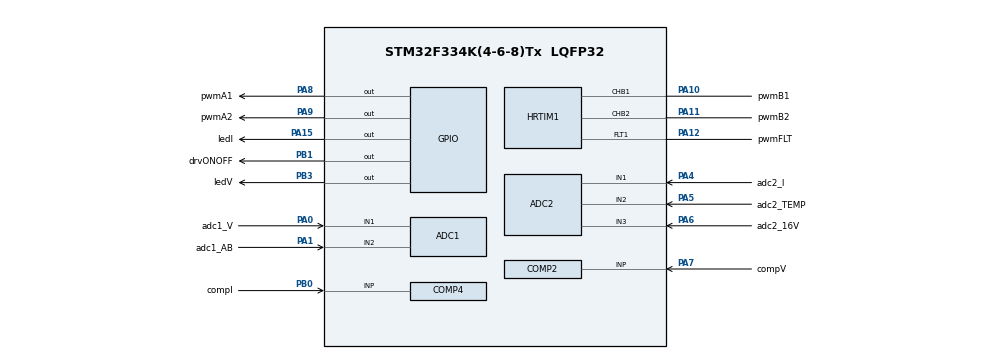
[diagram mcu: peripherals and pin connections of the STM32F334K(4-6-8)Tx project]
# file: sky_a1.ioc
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ADC1.EOCSelection=ADC_EOC_SEQ_CONV
ADC1.EnableRegularConversion=DISABLE
ADC1.ExternalTrigInjecConv=ADC_EXTERNALTRIGINJECCONV_HRTIM_TRG2
ADC1.InjNumberOfConversion=1
ADC1.InjectedChannel-1\#ChannelInjectedConversion=ADC_CHANNEL_1
ADC1.InjectedOffset-1\#ChannelInjectedConversion=0
ADC1.InjectedOffsetNumber-1\#ChannelInjectedConversion=ADC_OFFSET_NONE
ADC1.InjectedRank-1\#ChannelInjectedConversion=1
ADC1.InjectedSamplingTime-1\#ChannelInjectedConversion=ADC_SAMPLETIME_4CYCLES_5
ADC1.InjectedSamplingTimeOPAMP-1\#ChannelInjectedConversion=ADC_SAMPLETIME_61CYCLES_5
ADC1.SubFamily=STM32F334x8
ADC1.master=1
ADC2.EOCSelection=ADC_EOC_SEQ_CONV
ADC2.EnableRegularConversion=DISABLE
ADC2.ExternalTrigInjecConv=ADC_EXTERNALTRIGINJECCONV_HRTIM_TRG2
ADC2.InjNumberOfConversion=1
ADC2.InjectedChannel-1\#ChannelInjectedConversion=ADC_CHANNEL_1
ADC2.InjectedOffset-1\#ChannelInjectedConversion=0
ADC2.InjectedOffsetNumber-1\#ChannelInjectedConversion=ADC_OFFSET_NONE
ADC2.InjectedRank-1\#ChannelInjectedConversion=1
ADC2.InjectedSamplingTime-1\#ChannelInjectedConversion=ADC_SAMPLETIME_4CYCLES_5
ADC2.InjectedSamplingTimeOPAMP-1\#ChannelInjectedConversion=ADC_SAMPLETIME_61CYCLES_5
ADC2.SubFamily=STM32F334x8
COMP2.InvertingInput=COMP_INVERTINGINPUT_DAC1_CH2
COMP2.TriggerMode=COMP_TRIGGERMODE_NONE
COMP4.InvertingInput=COMP_INVERTINGINPUT_DAC2_CH1
COMP4.TriggerMode=COMP_TRIGGERMODE_NONE
HRTIM1.ADCTrigger2_Source1=HRTIM_ADCTRIGGEREVENT24_TIMERC_RESET
HRTIM1.ADCTrigger2_Source2=HRTIM_ADCTRIGGEREVENT24_TIMERC_CMP2
HRTIM1.ADCTrigger2_Source3=HRTIM_ADCTRIGGEREVENT24_TIMERC_CMP3
HRTIM1.ADCTrigger2_Source4=HRTIM_ADCTRIGGEREVENT24_MASTER_CMP3
HRTIM1.ADCTrigger2_Source5=HRTIM_ADCTRIGGEREVENT24_MASTER_CMP4
HRTIM1.ADCTrigger2_Source6=HRTIM_ADCTRIGGEREVENT24_NONE
HRTIM1.ADCTrigger2_Source7=HRTIM_ADCTRIGGEREVENT24_NONE
HRTIM1.ADCTrigger2_Source8=HRTIM_ADCTRIGGEREVENT24_NONE
HRTIM1.ADCTrigger_Id1=__NULL
HRTIM1.ADCTrigger_Id2=HRTIM_ADCTRIGGER_2
HRTIM1.CaptureUnit1-Output_TB1TB2=HRTIM_CAPTUREUNIT_1
HRTIM1.CaptureUnit2-Output_TB1TB2=HRTIM_CAPTUREUNIT_2
HRTIM1.CompareUnit1-MasterTimer=HRTIM_COMPAREUNIT_1
HRTIM1.CompareUnit1-No_output_TC=__NULL
HRTIM1.CompareUnit1-Output_TB1TB2=HRTIM_COMPAREUNIT_1
HRTIM1.CompareUnit2-MasterTimer=HRTIM_COMPAREUNIT_2
HRTIM1.CompareUnit2-No_output_TC=HRTIM_COMPAREUNIT_2
HRTIM1.CompareUnit2-Output_TB1TB2=HRTIM_COMPAREUNIT_2
HRTIM1.CompareUnit3-MasterTimer=HRTIM_COMPAREUNIT_3
HRTIM1.CompareUnit3-No_output_TC=HRTIM_COMPAREUNIT_3
HRTIM1.CompareUnit3-Output_TB1TB2=HRTIM_COMPAREUNIT_3
HRTIM1.CompareUnit4-MasterTimer=HRTIM_COMPAREUNIT_4
HRTIM1.CompareUnit4-No_output_TC=__NULL
HRTIM1.CompareUnit4-Output_TB1TB2=HRTIM_COMPAREUNIT_4
HRTIM1.CompareValue1-MasterTimer=5800
HRTIM1.CompareValue1-Output_TB1TB2=4600
HRTIM1.CompareValue2-MasterTimer=30800
HRTIM1.CompareValue2-No_output_TC=3000
HRTIM1.CompareValue2-Output_TB1TB2=25000
HRTIM1.CompareValue3-MasterTimer=14800
HRTIM1.CompareValue3-No_output_TC=6000
HRTIM1.CompareValue3-Output_TB1TB2=29600
HRTIM1.CompareValue4-MasterTimer=17800
HRTIM1.CompareValue4-No_output_TC=9000
HRTIM1.CompareValue4-Output_TB1TB2=50000
HRTIM1.Event_EEV1=HRTIM_EVENT_1
HRTIM1.Event_EEV2=HRTIM_EVENT_2
HRTIM1.FastMode_EEV1=HRTIM_EVENTFASTMODE_ENABLE
HRTIM1.FastMode_EEV2=HRTIM_EVENTFASTMODE_ENABLE
HRTIM1.FaultLevel1-Output_TB1TB2=HRTIM_OUTPUTFAULTLEVEL_INACTIVE
HRTIM1.FaultLevel2-Output_TB1TB2=HRTIM_OUTPUTFAULTLEVEL_INACTIVE
HRTIM1.Filter_FaultLine1=HRTIM_FAULTFILTER_15
HRTIM1.HRTIMInterruptResquests1=HRTIM_IT_FLT1
HRTIM1.HRTIMInterruptResquests2=HRTIM_IT_SYSFLT
HRTIM1.InterruptRequests1-Output_TB1TB2=HRTIM_TIM_IT_CPT1
HRTIM1.InterruptRequests1_Master=HRTIM_MASTER_IT_MREP
HRTIM1.InterruptRequests2-Output_TB1TB2=HRTIM_TIM_IT_CPT2
HRTIM1.ModeTimeBase-No_output_TC=HRTIM_MODE_SINGLESHOT_RETRIGGERABLE
HRTIM1.ModeTimeBase-Output_TB1TB2=HRTIM_MODE_SINGLESHOT_RETRIGGERABLE
HRTIM1.NumberADCTriggerSource2=5
HRTIM1.NumberInterruptRequests-Output_TB1TB2=2
HRTIM1.NumberInterruptRequests_Master-MasterTimer=1
HRTIM1.NumberResetSource1-Output_TB1TB2=8
HRTIM1.NumberResetSource2_TB=8
HRTIM1.NumberResetTrigger-No_output_TC=2
HRTIM1.NumberResetTrigger-Output_TB1TB2=1
HRTIM1.NumberSetSource1-Output_TB1TB2=1
HRTIM1.NumberSetSource2_TB=1
HRTIM1.NumberTriggerSource_Captureconfig1-Output_TB1TB2=1
HRTIM1.NumberTriggerSource_Captureconfig2-Output_TB1TB2=1
HRTIM1.NumberUpdateTrigger-No_output_TC=1
HRTIM1.NumberUpdateTrigger-Output_TB1TB2=1
HRTIM1.ORingUpdateSource_ADCTrigger2=HRTIM_ADCTRIGGERUPDATE_TIMER_C
HRTIM1.Periode_MASTER=50000
HRTIM1.Periode_TB=50000
HRTIM1.Periode_TC=19200
HRTIM1.PreloadEnable-MasterTimer=HRTIM_PRELOAD_ENABLED
HRTIM1.PreloadEnable-No_output_TC=HRTIM_PRELOAD_ENABLED
HRTIM1.PreloadEnable-Output_TB1TB2=HRTIM_PRELOAD_ENABLED
HRTIM1.PrescalerRatio_MASTER=HRTIM_PRESCALERRATIO_MUL16
HRTIM1.PrescalerRatio_TB=HRTIM_PRESCALERRATIO_MUL16
HRTIM1.PrescalerRatio_TC=HRTIM_PRESCALERRATIO_MUL16
HRTIM1.RepetitionUpdate-MasterTimer=HRTIM_UPDATEONREPETITION_ENABLED
HRTIM1.RepetitionUpdate-No_output_TC=HRTIM_UPDATEONREPETITION_ENABLED
HRTIM1.RepetitionUpdate-Output_TB1TB2=HRTIM_UPDATEONREPETITION_ENABLED
HRTIM1.ResetOutput1_Source1-Output_TB1TB2=HRTIM_OUTPUTRESET_EEV_1
HRTIM1.ResetOutput1_Source2-Output_TB1TB2=HRTIM_OUTPUTRESET_EEV_2
HRTIM1.ResetOutput1_Source3-Output_TB1TB2=HRTIM_OUTPUTRESET_TIMCMP2
HRTIM1.ResetOutput1_Source4-Output_TB1TB2=HRTIM_OUTPUTRESET_TIMCMP3
HRTIM1.ResetOutput1_Source5-Output_TB1TB2=HRTIM_OUTPUTRESET_TIMCMP4
HRTIM1.ResetOutput1_Source6-Output_TB1TB2=HRTIM_OUTPUTRESET_MASTERPER
HRTIM1.ResetOutput1_Source7-Output_TB1TB2=HRTIM_OUTPUTRESET_UPDATE
HRTIM1.ResetOutput1_Source8-Output_TB1TB2=HRTIM_OUTPUTRESET_TIMPER
HRTIM1.ResetOutput2_Source1-Output_TB1TB2=HRTIM_OUTPUTRESET_EEV_1
HRTIM1.ResetOutput2_Source2-Output_TB1TB2=HRTIM_OUTPUTRESET_EEV_2
HRTIM1.ResetOutput2_Source3-Output_TB1TB2=HRTIM_OUTPUTRESET_TIMCMP4
HRTIM1.ResetOutput2_Source4-Output_TB1TB2=HRTIM_OUTPUTRESET_TIMCMP1
HRTIM1.ResetOutput2_Source5-Output_TB1TB2=HRTIM_OUTPUTRESET_TIMCMP2
HRTIM1.ResetOutput2_Source6-Output_TB1TB2=HRTIM_OUTPUTRESET_MASTERPER
HRTIM1.ResetOutput2_Source7-Output_TB1TB2=HRTIM_OUTPUTRESET_UPDATE
HRTIM1.ResetOutput2_Source8-Output_TB1TB2=HRTIM_OUTPUTRESET_TIMPER
HRTIM1.ResetTrigger1-No_output_TC=HRTIM_TIMRESETTRIGGER_MASTER_CMP1
HRTIM1.ResetTrigger1-Output_TB1TB2=HRTIM_TIMRESETTRIGGER_MASTER_PER
HRTIM1.ResetTrigger2-No_output_TC=HRTIM_TIMRESETTRIGGER_MASTER_CMP2
HRTIM1.ResetUpdate-No_output_TC=HRTIM_TIMUPDATEONRESET_ENABLED
HRTIM1.ResetUpdate-Output_TB1TB2=HRTIM_TIMUPDATEONRESET_ENABLED
HRTIM1.SetOutput1_Source1-Output_TB1TB2=HRTIM_OUTPUTSET_TIMCMP1
HRTIM1.SetOutput2_Source1-Output_TB1TB2=HRTIM_OUTPUTSET_TIMCMP3
HRTIM1.TriggerCapture1_Source1-Output_TB1TB2=HRTIM_CAPTURETRIGGER_EEV_1
HRTIM1.TriggerCapture2_Source1-Output_TB1TB2=HRTIM_CAPTURETRIGGER_EEV_2
HRTIM1.UpdateTrigger1-No_output_TC=HRTIM_TIMUPDATETRIGGER_MASTER
HRTIM1.UpdateTrigger1-Output_TB1TB2=HRTIM_TIMUPDATETRIGGER_MASTER
IWDG.Prescaler=IWDG_PRESCALER_128
Mcu.Family=STM32F3
Mcu.Name=STM32F334K(4-6-8)Tx
Mcu.Package=LQFP32
NVIC.ADC1_2_IRQn=true\:0\:3\:false\:true\:true\:5\:true\:true
NVIC.HRTIM1_Master_IRQn=true\:0\:0\:false\:true\:true\:1\:true\:true
NVIC.HRTIM1_TIMB_IRQn=true\:0\:2\:false\:true\:true\:2\:true\:true
NVIC.PVD_IRQn=true\:2\:3\:true\:true\:true\:6\:true\:true
NVIC.PriorityGroup=NVIC_PRIORITYGROUP_2
PA0.GPIO_Label=adc1_V
PA0.Mode=IN1-Single-Ended
PA0.Signal=ADC1_IN1
PA1.GPIO_Label=adc1_AB
PA1.Mode=IN2-Single-Ended
PA1.Signal=ADC1_IN2
PA10.GPIO_Label=pwmB1
PA10.Mode=Output_TB1TB2
PA10.Signal=HRTIM1_CHB1
PA11.GPIO_Label=pwmB2
PA11.Mode=Output_TB1TB2
PA11.Signal=HRTIM1_CHB2
PA12.GPIO_Label=pwmFLT
PA12.GPIO_Speed=GPIO_SPEED_FREQ_HIGH
PA12.Mode=Fault_Enable1
PA12.Signal=HRTIM1_FLT1
PA13.GPIO_Label=sysDIO
PA13.Mode=Serial_Wire
PA13.Signal=SYS_JTMS-SWDIO
PA14.GPIO_Label=sysCLK
PA14.Mode=Serial_Wire
PA14.Signal=SYS_JTCK-SWCLK
PA15.GPIO_Label=ledI
PA15.GPIO_Speed=GPIO_SPEED_FREQ_HIGH
PA15.Signal=GPIO_Output
PA4.GPIO_Label=adc2_I
PA4.Mode=IN1-Single-Ended
PA4.Signal=ADC2_IN1
PA5.GPIO_Label=adc2_TEMP
PA5.Mode=IN2-Single-Ended
PA5.Signal=ADC2_IN2
PA6.GPIO_Label=adc2_16V
PA6.Mode=IN3-Single-Ended
PA6.Signal=ADC2_IN3
PA7.GPIO_Label=compV
PA7.Mode=INP
PA7.Signal=COMP2_INP
PA8.GPIO_Label=pwmA1
PA8.GPIO_Speed=GPIO_SPEED_FREQ_HIGH
PA8.Signal=GPIO_Output
PA9.GPIO_Label=pwmA2
PA9.GPIO_Speed=GPIO_SPEED_FREQ_HIGH
PA9.Signal=GPIO_Output
PB0.GPIO_Label=compI
PB0.Mode=INP
PB0.Signal=COMP4_INP
PB1.GPIO_Label=drvONOFF
PB1.GPIO_Speed=GPIO_SPEED_FREQ_HIGH
PB1.PinState=GPIO_PIN_SET
PB1.Signal=GPIO_Output
PB3.GPIO_Label=ledV
PB3.GPIO_Speed=GPIO_SPEED_FREQ_HIGH
PB3.Signal=GPIO_Output
PF0\ /\ OSC_IN.GPIO_Label=rccPF0
PF0\ /\ OSC_IN.Mode=HSE-External-Oscillator
PF0\ /\ OSC_IN.Signal=RCC_OSC_IN
PF1\ /\ OSC_OUT.GPIO_Label=rccPF1
PF1\ /\ OSC_OUT.Mode=HSE-External-Oscillator
PF1\ /\ OSC_OUT.Signal=RCC_OSC_OUT
ProjectManager.HeapSize=0x200
ProjectManager.StackSize=0x400
ProjectManager.TargetToolchain=STM32CubeIDE
RCC.AHBFreq_Value=72000000
RCC.APB1CLKDivider=RCC_HCLK_DIV2
RCC.APB1Freq_Value=36000000
RCC.APB1TimFreq_Value=72000000
RCC.APB2Freq_Value=72000000
RCC.APB2TimFreq_Value=72000000
RCC.CortexFreq_Value=72000000
RCC.HCLKFreq_Value=72000000
RCC.HRTIMSelection=RCC_HRTIM1CLK_PLLCLK
RCC.HSE_VALUE=12000000
RCC.HSI_VALUE=8000000
RCC.PLLMUL=RCC_PLL_MUL6
RCC.PLLSourceVirtual=RCC_PLLSOURCE_HSE
RCC.SYSCLKFreq_VALUE=72000000
RCC.SYSCLKSourceVirtual=RCC_SYSCLKSOURCE_PLLCLK
VP_COMP2_VS_DAC1OUT2.Mode=INM_DAC1OUT2
VP_COMP4_VS_DAC2OUT1.Mode=INM_DAC2OUT1
VP_DAC1_Switcher_Out2.Mode=Switch_Disable_OUT2
VP_DAC2_Switcher_Out1.Mode=Switch_Disable_OUT1
VP_HRTIM1_VS_hrtimMasterTimerNoOutput.Mode=MasterTimer
VP_HRTIM1_VS_hrtimTimerCNoOutput.Mode=No_output_TC
VP_IWDG_VS_IWDG.Mode=IWDG_Activate
board=custom

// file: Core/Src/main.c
/* USER CODE BEGIN Header */
/**
  ******************************************************************************
  * @file           : main.c
  * @brief          : Main program body
  ******************************************************************************
  * @attention
  *
  * <h2><center>&copy; Copyright (c) 2020 STMicroelectronics.
  * All rights reserved.</center></h2>
  *
  * This software component is licensed by ST under BSD 3-Clause license,
  * the "License"; You may not use this file except in compliance with the
  * License. You may obtain a copy of the License at:
  *                        opensource.org/licenses/BSD-3-Clause
  *
  ******************************************************************************
  */
/* USER CODE END Header */
#include "main.h"
#include "adc.h"
#include "comp.h"
#include "dac.h"
#include "hrtim.h"
#include "iwdg.h"
#include "gpio.h"

void SystemClock_Config(void);
static void MX_NVIC_Init(void);

int main(void)
{

  /* MCU Configuration--------------------------------------------------------*/

  /* Reset of all peripherals, Initializes the Flash interface and the Systick. */

  LL_APB2_GRP1_EnableClock(LL_APB2_GRP1_PERIPH_SYSCFG);
  LL_APB1_GRP1_EnableClock(LL_APB1_GRP1_PERIPH_PWR);

  NVIC_SetPriorityGrouping(NVIC_PRIORITYGROUP_2);

  /* System interrupt init*/
  /* SysTick_IRQn interrupt configuration */
  NVIC_SetPriority(SysTick_IRQn, NVIC_EncodePriority(NVIC_GetPriorityGrouping(),3, 3));

  /* Peripheral interrupt init*/

  /* Configure the system clock */
  SystemClock_Config();

  /* Initialize all configured peripherals */
  MX_GPIO_Init();
  MX_HRTIM1_Init();
  MX_DAC1_Init();
  MX_DAC2_Init();
  MX_IWDG_Init();
  MX_COMP2_Init();
  MX_COMP4_Init();
  MX_ADC1_Init();
  MX_ADC2_Init();

  /* Initialize interrupts */
  MX_NVIC_Init();
  /* USER CODE BEGIN 2 */

  //****************************************************************************
  //*Disable SysTick IT
  //****************************************************************************
  LL_SYSTICK_DisableIT();

  //****************************************************************************
  //*Enable DRV
  //****************************************************************************
  LL_GPIO_ResetOutputPin(drvONOFF_GPIO_Port, drvONOFF_Pin);
  //LL_GPIO_SetOutputPin(drvONOFF_GPIO_Port, drvONOFF_Pin);

  //****************************************************************************
  //*Enable DAC1 CH2 - Voltage, DAC2 CH1 - Current
  //****************************************************************************
  LL_DAC_Enable(DAC1, LL_DAC_CHANNEL_2);
  LL_DAC_Enable(DAC2, LL_DAC_CHANNEL_1);

  // Min Pulse
  InitSKY();

  //****************************************************************************
  //*ADC
  //****************************************************************************
  InitSkyADC();

  //****************************************************************************
  //*HRTIM
  //****************************************************************************

  //Enable Interrupt
  LL_HRTIM_EnableIT_REP(HRTIM1, LL_HRTIM_TIMER_MASTER);
  LL_HRTIM_EnableIT_CPT1(HRTIM1, LL_HRTIM_TIMER_B);
  LL_HRTIM_EnableIT_CPT2(HRTIM1, LL_HRTIM_TIMER_B);
  LL_HRTIM_EnableIT_FLT1(HRTIM1);

  // Start Master and TimerB
  LL_HRTIM_TIM_CounterEnable(HRTIM1,
		  LL_HRTIM_TIMER_MASTER
		  | LL_HRTIM_TIMER_B
		  | LL_HRTIM_TIMER_C);

  /* USER CODE END 2 */

  /* Infinite loop */
  /* USER CODE BEGIN WHILE */
  while (1)
  {
	  asm("NOP");
	  IWDG->KR=LL_IWDG_KEY_RELOAD;
    /* USER CODE END WHILE */

  }
}

void SystemClock_Config(void)
{
  LL_FLASH_SetLatency(LL_FLASH_LATENCY_2);
  while(LL_FLASH_GetLatency()!= LL_FLASH_LATENCY_2)
  {
  }
  LL_RCC_HSE_Enable();

   /* Wait till HSE is ready */
  while(LL_RCC_HSE_IsReady() != 1)
  {

  }
  LL_RCC_LSI_Enable();

   /* Wait till LSI is ready */
  while(LL_RCC_LSI_IsReady() != 1)
  {

  }
  LL_RCC_PLL_ConfigDomain_SYS(LL_RCC_PLLSOURCE_HSE_DIV_1, LL_RCC_PLL_MUL_6);
  LL_RCC_PLL_Enable();

   /* Wait till PLL is ready */
  while(LL_RCC_PLL_IsReady() != 1)
  {

  }
  LL_RCC_SetAHBPrescaler(LL_RCC_SYSCLK_DIV_1);
  LL_RCC_SetAPB1Prescaler(LL_RCC_APB1_DIV_2);
  LL_RCC_SetAPB2Prescaler(LL_RCC_APB1_DIV_1);
  LL_RCC_SetSysClkSource(LL_RCC_SYS_CLKSOURCE_PLL);

   /* Wait till System clock is ready */
  while(LL_RCC_GetSysClkSource() != LL_RCC_SYS_CLKSOURCE_STATUS_PLL)
  {

  }
  LL_Init1msTick(72000000);
  LL_SetSystemCoreClock(72000000);
  LL_RCC_SetHRTIMClockSource(RCC_CFGR3_HRTIM1SW_PLL);
  LL_RCC_SetADCClockSource(LL_RCC_ADC12_CLKSRC_PLL_DIV_1);
}

/**
  * @brief NVIC Configuration.
  * @retval None
  */
static void MX_NVIC_Init(void)
{
  /* HRTIM1_Master_IRQn interrupt configuration */
  NVIC_SetPriority(HRTIM1_Master_IRQn, NVIC_EncodePriority(NVIC_GetPriorityGrouping(),0, 0));
  NVIC_EnableIRQ(HRTIM1_Master_IRQn);
  /* HRTIM1_TIMB_IRQn interrupt configuration */
  NVIC_SetPriority(HRTIM1_TIMB_IRQn, NVIC_EncodePriority(NVIC_GetPriorityGrouping(),0, 2));
  NVIC_EnableIRQ(HRTIM1_TIMB_IRQn);
  /* ADC1_2_IRQn interrupt configuration */
  NVIC_SetPriority(ADC1_2_IRQn, NVIC_EncodePriority(NVIC_GetPriorityGrouping(),0, 3));
  NVIC_EnableIRQ(ADC1_2_IRQn);
  /* PVD_IRQn interrupt configuration */
  NVIC_SetPriority(PVD_IRQn, NVIC_EncodePriority(NVIC_GetPriorityGrouping(),2, 3));
  NVIC_EnableIRQ(PVD_IRQn);
}

void Error_Handler(void)
{
}

/************************ (C) COPYRIGHT STMicroelectronics *****END OF FILE****/
